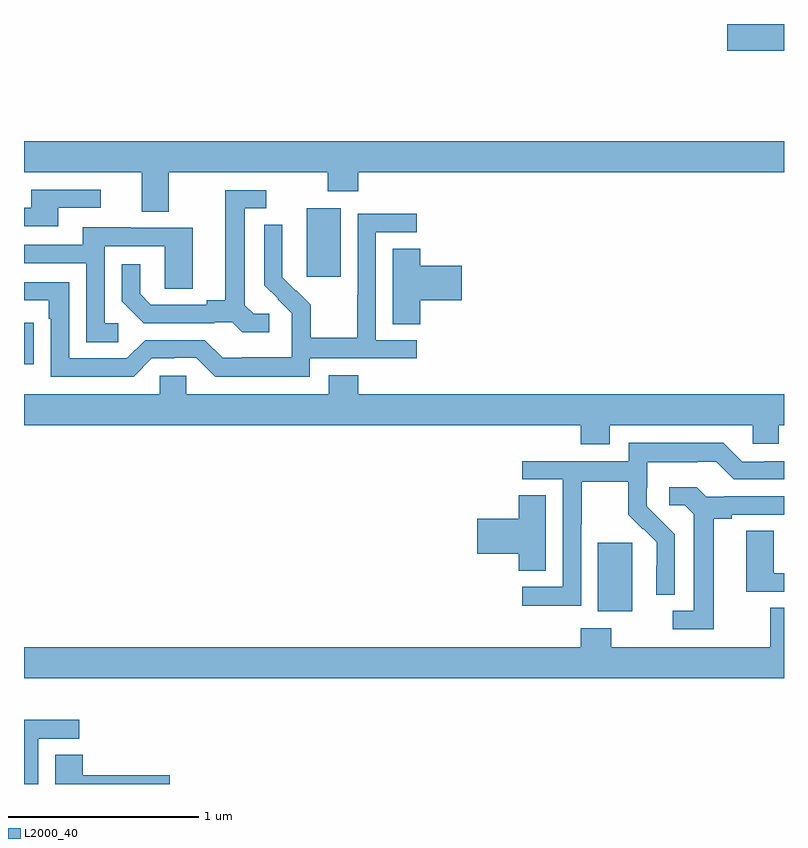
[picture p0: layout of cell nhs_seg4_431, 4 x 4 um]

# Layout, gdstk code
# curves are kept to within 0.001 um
import gdstk
lib = gdstk.Library(unit=1e-6, precision=1e-09)
def R(c, l, rs):  # rectangles x0, y0, x1, y1
    for r in rs: c.add(gdstk.rectangle(r[:2], r[2:], *l))
def P(c, l, *ps):  # polygons
    for p in ps: c.add(gdstk.Polygon(p, *l))
L2000_40 = (2000, 40)

nhs_seg4_431 = lib.new_cell('nhs_seg4_431')
R(nhs_seg4_431, L2000_40, [(134.021,827.81,134.2,828.171), (131,829.11,131.051,829.328), (132.488,829.569,132.667,829.93), (134.7,830.758,135,830.9)])
P(nhs_seg4_431, L2000_40, [(131.761,830.12),(132.598,830.12),(132.598,830.021),(132.758,830.021),(132.758,830.12),(135,830.12),(135,830.284),(131,830.284),(131,830.12),(131.621,830.12),(131.621,829.912),(131.761,829.912)],
  [(131.179,829.932),(131.404,829.932),(131.404,830.028),(131.039,830.028),(131.039,829.932),(131,829.932),(131,829.836),(131.179,829.836)],
  [(132.292,829.374),(132.21,829.374),(132.163,829.421),(132.163,829.929),(132.274,829.929),(132.274,830.025),(132.059,830.025),(132.059,829.445),(131.963,829.445),(131.963,829.422),(131.668,829.422),(131.611,829.479),(131.611,829.636),(131.514,829.636),(131.514,829.442),(131.63,829.326),(132.002,829.326),(132.002,829.329),(132.096,829.329),(132.148,829.277),(132.292,829.277)],
  [(132.504,829.14),(133.066,829.14),(133.066,829.236),(132.852,829.236),(132.852,829.803),(133.066,829.803),(133.066,829.902),(132.756,829.902),(132.756,829.472),(132.754,829.472),(132.754,829.249),(132.509,829.249),(132.509,829.423),(132.432,829.5),(132.429,829.497),(132.359,829.568),(132.36,829.844),(132.264,829.844),(132.264,829.526),(132.41,829.378),(132.41,829.281),(132.408,829.281),(132.408,829.147),(132.145,829.147),(132.145,829.143),(132.045,829.143),(131.952,829.236),(131.637,829.236),(131.541,829.14),(131.238,829.14),(131.238,829.542),(131,829.542),(131,829.446),(131.129,829.446),(131.129,829.349),(131.142,829.349),(131.142,829.044),(131.577,829.044),(131.673,829.14),(131.792,829.14),(131.792,829.143),(131.907,829.143),(132.007,829.043),(132.504,829.043)],
  [(131.497,829.326),(131.424,829.326),(131.424,829.731),(131.742,829.731),(131.742,829.507),(131.887,829.507),(131.887,829.827),(131.563,829.827),(131.563,829.831),(131.309,829.831),(131.309,829.737),(131,829.737),(131,829.641),(131.328,829.641),(131.328,829.225),(131.497,829.225)],
  [(133.085,829.445),(133.303,829.445),(133.303,829.628),(133.085,829.628),(133.085,829.718),(132.941,829.718),(132.941,829.321),(133.085,829.321)],
  [(134.083,828.788),(134.835,828.788),(134.835,828.69),(134.973,828.69),(134.973,828.788),(135,828.788),(135,828.952),(132.758,828.952),(132.758,829.051),(132.605,829.051),(132.605,828.952),(131.853,828.952),(131.853,829.05),(131.715,829.05),(131.715,828.952),(131,828.952),(131,828.788),(133.931,828.788),(133.931,828.689),(134.083,828.689)],
  [(133.932,828.268),(133.935,828.268),(133.935,828.492),(134.179,828.492),(134.179,828.317),(134.256,828.24),(134.259,828.243),(134.33,828.173),(134.33,828.05),(134.328,828.05),(134.328,827.896),(134.424,827.896),(134.424,828.214),(134.278,828.362),(134.278,828.459),(134.28,828.459),(134.28,828.593),(134.543,828.593),(134.543,828.597),(134.643,828.597),(134.736,828.504),(135,828.504),(135,828.6),(134.897,828.6),(134.897,828.597),(134.781,828.597),(134.681,828.697),(134.184,828.697),(134.184,828.6),(133.623,828.6),(133.623,828.504),(133.836,828.504),(133.836,827.937),(133.623,827.937),(133.623,827.839),(133.932,827.839)],
  [(134.629,828.296),(134.725,828.296),(134.725,828.318),(135,828.318),(135,828.414),(134.686,828.414),(134.686,828.411),(134.592,828.411),(134.54,828.463),(134.397,828.463),(134.397,828.366),(134.478,828.366),(134.525,828.319),(134.525,827.811),(134.415,827.811),(134.415,827.715),(134.629,827.715)],
  [(133.747,828.419),(133.604,828.419),(133.604,828.296),(133.386,828.296),(133.386,828.113),(133.604,828.113),(133.604,828.022),(133.747,828.022)],
  [(135,828.009),(134.946,828.009),(134.946,828.233),(134.801,828.233),(134.801,827.913),(135,827.913)],
  [(135,827.828),(134.927,827.828),(134.927,827.62),(134.091,827.62),(134.091,827.719),(133.931,827.719),(133.931,827.62),(131,827.62),(131,827.456),(135,827.456)],
  [(131.076,827.139),(131.29,827.139),(131.29,827.238),(131,827.238),(131,826.9),(131.076,826.9)],
  [(131.767,826.946),(131.309,826.946),(131.309,827.054),(131.165,827.054),(131.165,826.9),(131.767,826.9)])

lib.write_gds('nhs_seg4_431.gds')
